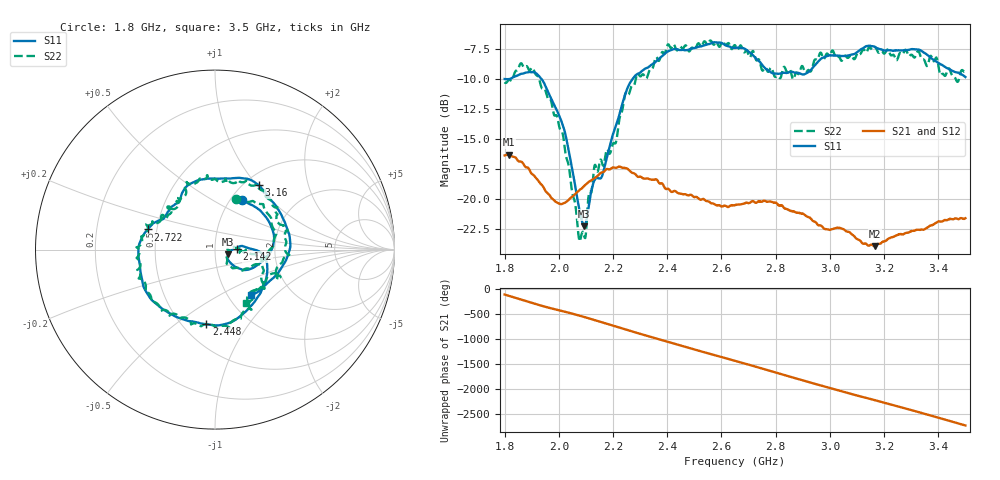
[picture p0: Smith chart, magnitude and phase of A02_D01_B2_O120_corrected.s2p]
! Created with skrf 1.9.0 (http://scikit-rf.org).
# Hz S RI R 50.0
!freq ReS11 ImS11 ReS21 ImS21 ReS12 ImS12 ReS22 ImS22
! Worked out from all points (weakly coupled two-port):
!   1601 points, 1.8 GHz to 3.5 GHz, reference 50 ohm
!   highest |S21| = -16.28 dB at 1.815 GHz (marker M1); lowest = -23.9 dB at 3.165 GHz (marker M2)
!   lowest |S11| = -22.3 dB at 2.093 GHz (marker M3), VSWR 1.17, Z = 57.7 - j3.12 ohm
!   |S11| at or under -10 dB: 1.937 GHz to 2.272 GHz (334.5 MHz wide, 15.9 % of centre)
!   |S22| runs from -23.5 to -6.8 dB; largest |S21 - S12| = 0.0031
!   S11 on the Smith chart (normalised r, x): 1.8 GHz: 1.13, +0.70; 2.142 GHz: 1.28, +0.01; 2.448 GHz: 0.65, -0.65; 2.722 GHz: 0.45, +0.12; 3.16 GHz: 1.16, +1.02; 3.5 GHz: 1.26, -0.72
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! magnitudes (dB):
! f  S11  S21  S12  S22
! 1.8 GHz  -10.0  -16.3  -16.3  -10.2
! 1.815 GHz  -10.0  -16.3  -16.3  -10.1
! 1.902 GHz  -9.4  -17.9  -17.9  -9.0
! 1.968 GHz  -11.4  -19.7  -19.8  -11.6
! 2.022 GHz  -14.4  -20.3  -20.3  -15.8
! 2.084 GHz  -21.7  -19.1  -19.1  -22.9
! 2.093 GHz  -22.3  -18.9  -18.9  -23.0
! 2.142 GHz  -18.2  -18.1  -18.1  -17.7
! 2.208 GHz  -14.0  -17.4  -17.3  -15.3
! 2.26 GHz  -10.4  -17.6  -17.6  -11.2
! 2.367 GHz  -8.3  -18.6  -18.5  -8.4
! 2.448 GHz  -7.6  -19.5  -19.5  -7.3
! 2.65 GHz  -7.4  -20.5  -20.5  -7.2
! 2.722 GHz  -8.2  -20.2  -20.2  -8.0
! 2.808 GHz  -9.5  -20.4  -20.4  -9.7
! 2.934 GHz  -9.1  -21.7  -21.7  -9.1
! 3.16 GHz  -7.3  -23.9  -23.8  -7.5
! 3.165 GHz  -7.3  -23.9  -23.9  -7.3
! 3.217 GHz  -7.6  -23.3  -23.2  -7.6
! 3.388 GHz  -8.5  -22.0  -22.0  -8.3
! 3.468 GHz  -9.4  -21.6  -21.6  -10.2
! 3.5 GHz  -9.8  -21.6  -21.6  -9.2
